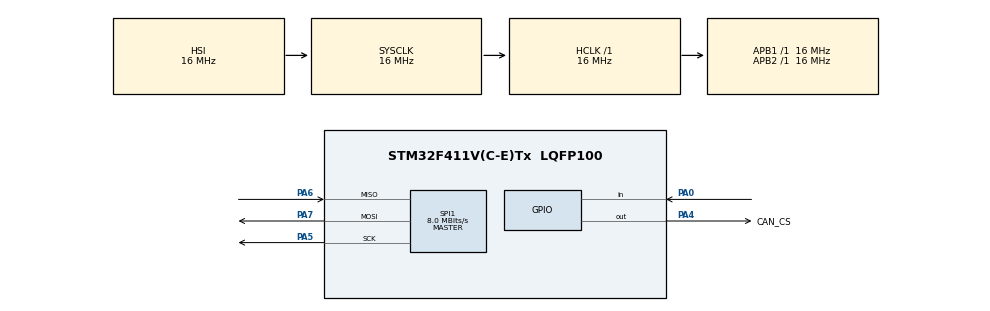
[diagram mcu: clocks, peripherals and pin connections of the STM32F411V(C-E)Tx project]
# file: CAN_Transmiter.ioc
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Mcu.Family=STM32F4
Mcu.Name=STM32F411V(C-E)Tx
Mcu.Package=LQFP100
NVIC.PriorityGroup=NVIC_PRIORITYGROUP_4
PA0-WKUP.GPIO_PuPd=GPIO_PULLUP
PA0-WKUP.Signal=GPIO_Input
PA13.Mode=Serial_Wire
PA13.Signal=SYS_JTMS-SWDIO
PA14.Mode=Serial_Wire
PA14.Signal=SYS_JTCK-SWCLK
PA4.GPIO_Label=CAN_CS
PA4.Signal=GPIO_Output
PA5.Mode=Full_Duplex_Master
PA5.Signal=SPI1_SCK
PA6.Mode=Full_Duplex_Master
PA6.Signal=SPI1_MISO
PA7.Mode=Full_Duplex_Master
PA7.Signal=SPI1_MOSI
ProjectManager.HeapSize=0x200
ProjectManager.StackSize=0x400
ProjectManager.TargetToolchain=STM32CubeIDE
RCC.AHBFreq_Value=16000000
RCC.APB1Freq_Value=16000000
RCC.APB2Freq_Value=16000000
RCC.CortexFreq_Value=16000000
RCC.HSE_VALUE=25000000
RCC.HSI_VALUE=16000000
RCC.LSE_VALUE=32768
RCC.SYSCLKFreq_VALUE=16000000
RCC.VCOOutputFreq_Value=192000000
SPI1.CalculateBaudRate=8.0 MBits/s
SPI1.Direction=SPI_DIRECTION_2LINES
SPI1.Mode=SPI_MODE_MASTER
SPI1.VirtualType=VM_MASTER
board=custom

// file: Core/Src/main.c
/* USER CODE BEGIN Header */
/**
  ******************************************************************************
  * @file           : main.c
  * @brief          : Main program body
  ******************************************************************************
  * @attention
  *
  * Copyright (c) 2024 STMicroelectronics.
  * All rights reserved.
  *
  * This software is licensed under terms that can be found in the LICENSE file
  * in the root directory of this software component.
  * If no LICENSE file comes with this software, it is provided AS-IS.
  *
  ******************************************************************************
  */
/* USER CODE END Header */
#include "main.h"

/* USER CODE BEGIN Includes */
#include "CAN_SPI.h"
#include "string.h"
/* USER CODE END Includes */

SPI_HandleTypeDef hspi1;

void SystemClock_Config(void);
static void MX_GPIO_Init(void);
static void MX_SPI1_Init(void);

/* USER CODE BEGIN 0 */
uint8_t count = 0;
/* USER CODE END 0 */

int main(void)
{

  /* MCU Configuration--------------------------------------------------------*/

  /* Reset of all peripherals, Initializes the Flash interface and the Systick. */
  HAL_Init();

  /* Configure the system clock */
  SystemClock_Config();

  /* Initialize all configured peripherals */
  MX_GPIO_Init();
  MX_SPI1_Init();
  /* USER CODE BEGIN 2 */
  uCAN_MSG txMessage;
  CANSPI_Initialize();
  /* USER CODE END 2 */

  /* Infinite loop */
  /* USER CODE BEGIN WHILE */
  while (1)
  {
	  if(HAL_GPIO_ReadPin(GPIOA, GPIO_PIN_0))
	  {
		  if(!count)
		  {
			  txMessage.frame.idType = dSTANDARD_CAN_MSG_ID_2_0B;
			  txMessage.frame.id = 0x100;
			  txMessage.frame.dlc = 8;
			  txMessage.frame.data0 = 'H';
			  txMessage.frame.data1 = 'e';
			  txMessage.frame.data2 = 'l';
			  txMessage.frame.data3 = 'l';
			  txMessage.frame.data4 = 'o';
			  txMessage.frame.data5 = '!';
			  txMessage.frame.data6 = '\r';
			  txMessage.frame.data7 = '\n';
			  CANSPI_Transmit(&txMessage);
			  count = 1;
		  }
		  else
		  {
			  txMessage.frame.idType = dSTANDARD_CAN_MSG_ID_2_0B;
			  txMessage.frame.id = 0x127;
			  txMessage.frame.dlc = 8;
			  txMessage.frame.data0 = 'S';
			  txMessage.frame.data1 = 'T';
			  txMessage.frame.data2 = 'M';
			  txMessage.frame.data3 = '3';
			  txMessage.frame.data4 = '2';
			  txMessage.frame.data5 = '!';
			  txMessage.frame.data6 = '\r';
			  txMessage.frame.data7 = '\n';
			  CANSPI_Transmit(&txMessage);
			  count = 0;
		  }
	  }
	  HAL_Delay(100);
    /* USER CODE END WHILE */

  }
}

void SystemClock_Config(void)
{
  RCC_OscInitTypeDef RCC_OscInitStruct = {0};
  RCC_ClkInitTypeDef RCC_ClkInitStruct = {0};

  /** Configure the main internal regulator output voltage
  */
  __HAL_RCC_PWR_CLK_ENABLE();
  __HAL_PWR_VOLTAGESCALING_CONFIG(PWR_REGULATOR_VOLTAGE_SCALE1);

  /** Initializes the RCC Oscillators according to the specified parameters
  * in the RCC_OscInitTypeDef structure.
  */
  RCC_OscInitStruct.OscillatorType = RCC_OSCILLATORTYPE_HSI;
  RCC_OscInitStruct.HSIState = RCC_HSI_ON;
  RCC_OscInitStruct.HSICalibrationValue = RCC_HSICALIBRATION_DEFAULT;
  RCC_OscInitStruct.PLL.PLLState = RCC_PLL_NONE;
  if (HAL_RCC_OscConfig(&RCC_OscInitStruct) != HAL_OK)
  {
    Error_Handler();
  }

  /** Initializes the CPU, AHB and APB buses clocks
  */
  RCC_ClkInitStruct.ClockType = RCC_CLOCKTYPE_HCLK|RCC_CLOCKTYPE_SYSCLK
                              |RCC_CLOCKTYPE_PCLK1|RCC_CLOCKTYPE_PCLK2;
  RCC_ClkInitStruct.SYSCLKSource = RCC_SYSCLKSOURCE_HSI;
  RCC_ClkInitStruct.AHBCLKDivider = RCC_SYSCLK_DIV1;
  RCC_ClkInitStruct.APB1CLKDivider = RCC_HCLK_DIV1;
  RCC_ClkInitStruct.APB2CLKDivider = RCC_HCLK_DIV1;

  if (HAL_RCC_ClockConfig(&RCC_ClkInitStruct, FLASH_LATENCY_0) != HAL_OK)
  {
    Error_Handler();
  }
}

static void MX_SPI1_Init(void)
{

  /* SPI1 parameter configuration*/
  hspi1.Instance = SPI1;
  hspi1.Init.Mode = SPI_MODE_MASTER;
  hspi1.Init.Direction = SPI_DIRECTION_2LINES;
  hspi1.Init.DataSize = SPI_DATASIZE_8BIT;
  hspi1.Init.CLKPolarity = SPI_POLARITY_LOW;
  hspi1.Init.CLKPhase = SPI_PHASE_1EDGE;
  hspi1.Init.NSS = SPI_NSS_SOFT;
  hspi1.Init.BaudRatePrescaler = SPI_BAUDRATEPRESCALER_2;
  hspi1.Init.FirstBit = SPI_FIRSTBIT_MSB;
  hspi1.Init.TIMode = SPI_TIMODE_DISABLE;
  hspi1.Init.CRCCalculation = SPI_CRCCALCULATION_DISABLE;
  hspi1.Init.CRCPolynomial = 10;
  if (HAL_SPI_Init(&hspi1) != HAL_OK)
  {
    Error_Handler();
  }

}

static void MX_GPIO_Init(void)
{
  GPIO_InitTypeDef GPIO_InitStruct = {0};

  /* GPIO Ports Clock Enable */
  __HAL_RCC_GPIOA_CLK_ENABLE();

  /*Configure GPIO pin Output Level */
  HAL_GPIO_WritePin(CAN_CS_GPIO_Port, CAN_CS_Pin, GPIO_PIN_RESET);

  /*Configure GPIO pin : CAN_CS_Pin */
  GPIO_InitStruct.Pin = CAN_CS_Pin;
  GPIO_InitStruct.Mode = GPIO_MODE_OUTPUT_PP;
  GPIO_InitStruct.Pull = GPIO_NOPULL;
  GPIO_InitStruct.Speed = GPIO_SPEED_FREQ_LOW;
  HAL_GPIO_Init(CAN_CS_GPIO_Port, &GPIO_InitStruct);

}

void Error_Handler(void)
{
  __disable_irq();
  while (1)
  {
  }
}
